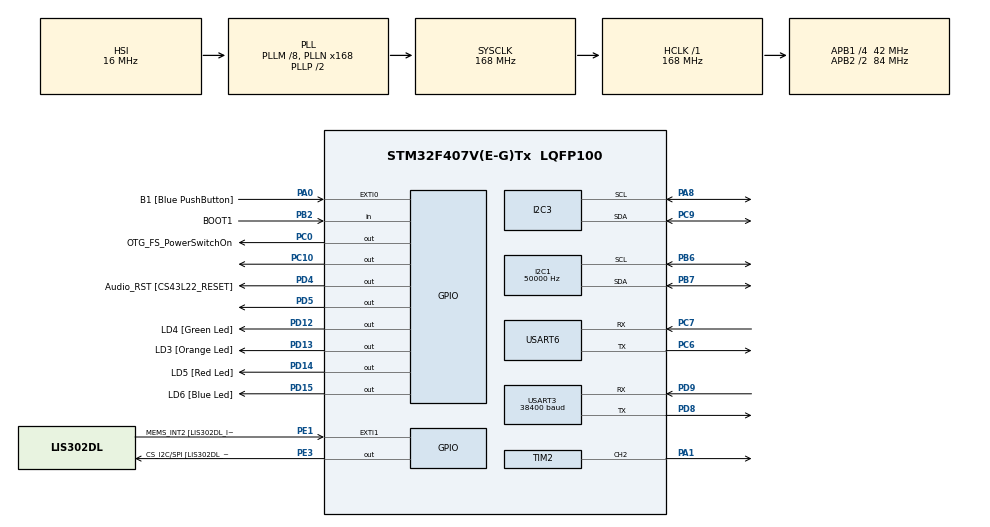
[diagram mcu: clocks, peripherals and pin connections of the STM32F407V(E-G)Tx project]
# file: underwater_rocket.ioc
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Dma.I2C1_RX.2.Direction=DMA_PERIPH_TO_MEMORY
Dma.I2C1_RX.2.FIFOMode=DMA_FIFOMODE_DISABLE
Dma.I2C1_RX.2.Instance=DMA1_Stream5
Dma.I2C1_RX.2.MemDataAlignment=DMA_MDATAALIGN_BYTE
Dma.I2C1_RX.2.MemInc=DMA_MINC_ENABLE
Dma.I2C1_RX.2.Mode=DMA_NORMAL
Dma.I2C1_RX.2.PeriphDataAlignment=DMA_PDATAALIGN_BYTE
Dma.I2C1_RX.2.PeriphInc=DMA_PINC_DISABLE
Dma.I2C1_RX.2.Priority=DMA_PRIORITY_LOW
Dma.I2C1_TX.3.Direction=DMA_MEMORY_TO_PERIPH
Dma.I2C1_TX.3.FIFOMode=DMA_FIFOMODE_DISABLE
Dma.I2C1_TX.3.Instance=DMA1_Stream6
Dma.I2C1_TX.3.MemDataAlignment=DMA_MDATAALIGN_BYTE
Dma.I2C1_TX.3.MemInc=DMA_MINC_ENABLE
Dma.I2C1_TX.3.Mode=DMA_NORMAL
Dma.I2C1_TX.3.PeriphDataAlignment=DMA_PDATAALIGN_BYTE
Dma.I2C1_TX.3.PeriphInc=DMA_PINC_DISABLE
Dma.I2C1_TX.3.Priority=DMA_PRIORITY_LOW
Dma.I2C3_RX.4.Direction=DMA_PERIPH_TO_MEMORY
Dma.I2C3_RX.4.FIFOMode=DMA_FIFOMODE_DISABLE
Dma.I2C3_RX.4.Instance=DMA1_Stream2
Dma.I2C3_RX.4.MemDataAlignment=DMA_MDATAALIGN_BYTE
Dma.I2C3_RX.4.MemInc=DMA_MINC_ENABLE
Dma.I2C3_RX.4.Mode=DMA_NORMAL
Dma.I2C3_RX.4.PeriphDataAlignment=DMA_PDATAALIGN_BYTE
Dma.I2C3_RX.4.PeriphInc=DMA_PINC_DISABLE
Dma.I2C3_RX.4.Priority=DMA_PRIORITY_LOW
Dma.I2C3_TX.5.Direction=DMA_MEMORY_TO_PERIPH
Dma.I2C3_TX.5.FIFOMode=DMA_FIFOMODE_DISABLE
Dma.I2C3_TX.5.Instance=DMA1_Stream4
Dma.I2C3_TX.5.MemDataAlignment=DMA_MDATAALIGN_BYTE
Dma.I2C3_TX.5.MemInc=DMA_MINC_ENABLE
Dma.I2C3_TX.5.Mode=DMA_NORMAL
Dma.I2C3_TX.5.PeriphDataAlignment=DMA_PDATAALIGN_BYTE
Dma.I2C3_TX.5.PeriphInc=DMA_PINC_DISABLE
Dma.I2C3_TX.5.Priority=DMA_PRIORITY_LOW
Dma.Request0=USART6_RX
Dma.Request1=USART6_TX
Dma.Request2=I2C1_RX
Dma.Request3=I2C1_TX
Dma.Request4=I2C3_RX
Dma.Request5=I2C3_TX
Dma.Request6=USART3_RX
Dma.Request7=USART3_TX
Dma.USART3_RX.6.Direction=DMA_PERIPH_TO_MEMORY
Dma.USART3_RX.6.FIFOMode=DMA_FIFOMODE_DISABLE
Dma.USART3_RX.6.Instance=DMA1_Stream1
Dma.USART3_RX.6.MemDataAlignment=DMA_MDATAALIGN_BYTE
Dma.USART3_RX.6.MemInc=DMA_MINC_ENABLE
Dma.USART3_RX.6.Mode=DMA_NORMAL
Dma.USART3_RX.6.PeriphDataAlignment=DMA_PDATAALIGN_BYTE
Dma.USART3_RX.6.PeriphInc=DMA_PINC_DISABLE
Dma.USART3_RX.6.Priority=DMA_PRIORITY_LOW
Dma.USART3_TX.7.Direction=DMA_MEMORY_TO_PERIPH
Dma.USART3_TX.7.FIFOMode=DMA_FIFOMODE_DISABLE
Dma.USART3_TX.7.Instance=DMA1_Stream3
Dma.USART3_TX.7.MemDataAlignment=DMA_MDATAALIGN_BYTE
Dma.USART3_TX.7.MemInc=DMA_MINC_ENABLE
Dma.USART3_TX.7.Mode=DMA_NORMAL
Dma.USART3_TX.7.PeriphDataAlignment=DMA_PDATAALIGN_BYTE
Dma.USART3_TX.7.PeriphInc=DMA_PINC_DISABLE
Dma.USART3_TX.7.Priority=DMA_PRIORITY_LOW
Dma.USART6_RX.0.Direction=DMA_PERIPH_TO_MEMORY
Dma.USART6_RX.0.FIFOMode=DMA_FIFOMODE_DISABLE
Dma.USART6_RX.0.Instance=DMA2_Stream1
Dma.USART6_RX.0.MemDataAlignment=DMA_MDATAALIGN_BYTE
Dma.USART6_RX.0.MemInc=DMA_MINC_ENABLE
Dma.USART6_RX.0.Mode=DMA_NORMAL
Dma.USART6_RX.0.PeriphDataAlignment=DMA_PDATAALIGN_BYTE
Dma.USART6_RX.0.PeriphInc=DMA_PINC_DISABLE
Dma.USART6_RX.0.Priority=DMA_PRIORITY_LOW
Dma.USART6_TX.1.Direction=DMA_MEMORY_TO_PERIPH
Dma.USART6_TX.1.FIFOMode=DMA_FIFOMODE_DISABLE
Dma.USART6_TX.1.Instance=DMA2_Stream6
Dma.USART6_TX.1.MemDataAlignment=DMA_MDATAALIGN_BYTE
Dma.USART6_TX.1.MemInc=DMA_MINC_ENABLE
Dma.USART6_TX.1.Mode=DMA_NORMAL
Dma.USART6_TX.1.PeriphDataAlignment=DMA_PDATAALIGN_BYTE
Dma.USART6_TX.1.PeriphInc=DMA_PINC_DISABLE
Dma.USART6_TX.1.Priority=DMA_PRIORITY_LOW
I2C1.ClockSpeed=50000
Mcu.Family=STM32F4
Mcu.Name=STM32F407V(E-G)Tx
Mcu.Package=LQFP100
NVIC.DMA1_Stream1_IRQn=true\:10\:0\:true\:false\:true\:false\:true\:true
NVIC.DMA1_Stream2_IRQn=true\:10\:0\:true\:false\:true\:false\:true\:true
NVIC.DMA1_Stream3_IRQn=true\:10\:0\:true\:false\:true\:false\:true\:true
NVIC.DMA1_Stream4_IRQn=true\:10\:0\:true\:false\:true\:false\:true\:true
NVIC.DMA1_Stream5_IRQn=true\:10\:0\:true\:false\:true\:false\:true\:true
NVIC.DMA1_Stream6_IRQn=true\:10\:0\:true\:false\:true\:false\:true\:true
NVIC.DMA2_Stream1_IRQn=true\:10\:0\:true\:false\:true\:false\:true\:true
NVIC.DMA2_Stream6_IRQn=true\:10\:0\:true\:false\:true\:false\:true\:true
NVIC.I2C1_ER_IRQn=true\:10\:0\:true\:false\:true\:true\:true\:true
NVIC.I2C1_EV_IRQn=true\:10\:0\:true\:false\:true\:true\:true\:true
NVIC.I2C3_EV_IRQn=true\:10\:0\:true\:false\:true\:true\:true\:true
NVIC.PriorityGroup=NVIC_PRIORITYGROUP_4
NVIC.TIM6_DAC_IRQn=true\:0\:0\:true\:false\:true\:false\:true\:true
NVIC.TimeBase=TIM6_DAC_IRQn
NVIC.TimeBaseIP=TIM6
NVIC.USART3_IRQn=true\:10\:0\:true\:false\:true\:true\:true\:true
NVIC.USART6_IRQn=true\:10\:0\:true\:false\:true\:true\:true\:true
PA0-WKUP.GPIO_Label=B1 [Blue PushButton]
PA0-WKUP.Signal=GPXTI0
PA1.Signal=S_TIM2_CH2
PA13.GPIO_Label=SWDIO
PA13.Mode=Trace_Asynchronous_SW
PA13.Signal=SYS_JTMS-SWDIO
PA14.GPIO_Label=SWCLK
PA14.Mode=Trace_Asynchronous_SW
PA14.Signal=SYS_JTCK-SWCLK
PA2.Signal=USART2_TX
PA3.Signal=USART2_RX
PA4.GPIO_Label=I2S3_WS [CS43L22_LRCK]
PA4.GPIO_Mode=GPIO_MODE_AF_PP
PA4.GPIO_PuPd=GPIO_NOPULL
PA4.GPIO_Speed=GPIO_SPEED_FREQ_LOW
PA4.Signal=I2S3_WS
PA5.GPIO_Label=SPI1_SCK [LIS302DL_SCL/SPC]
PA5.GPIO_Mode=GPIO_MODE_AF_PP
PA5.GPIO_PuPd=GPIO_NOPULL
PA5.GPIO_Speed=GPIO_SPEED_FREQ_LOW
PA5.Signal=SPI1_SCK
PA6.GPIO_Label=SPI1_MISO [LIS302DL_SDO]
PA6.GPIO_Mode=GPIO_MODE_AF_PP
PA6.GPIO_PuPd=GPIO_NOPULL
PA6.GPIO_Speed=GPIO_SPEED_FREQ_LOW
PA6.Signal=SPI1_MISO
PA7.GPIO_Label=SPI1_MOSI [LIS302DL_SDA/SDI/SDO]
PA7.GPIO_Mode=GPIO_MODE_AF_PP
PA7.GPIO_PuPd=GPIO_NOPULL
PA7.GPIO_Speed=GPIO_SPEED_FREQ_LOW
PA7.Signal=SPI1_MOSI
PA8.Mode=I2C
PA8.Signal=I2C3_SCL
PB2.GPIO_Label=BOOT1
PB2.GPIO_Mode=GPIO_MODE_INPUT
PB2.GPIO_PuPd=GPIO_NOPULL
PB2.Signal=GPIO_Input
PB3.GPIO_Label=SWO
PB3.Mode=Trace_Asynchronous_SW
PB3.Signal=SYS_JTDO-SWO
PB6.GPIO_Pu=GPIO_NOPULL
PB6.Mode=I2C
PB6.Signal=I2C1_SCL
PB7.GPIO_Pu=GPIO_NOPULL
PB7.Mode=I2C
PB7.Signal=I2C1_SDA
PC0.GPIO_Label=OTG_FS_PowerSwitchOn
PC0.GPIO_PuPd=GPIO_NOPULL
PC0.GPIO_Speed=GPIO_SPEED_FREQ_LOW
PC0.PinState=GPIO_PIN_SET
PC0.Signal=GPIO_Output
PC10.Signal=GPIO_Output
PC14-OSC32_IN.GPIO_Label=PC14-OSC32_IN
PC14-OSC32_IN.Signal=RCC_OSC32_IN
PC15-OSC32_OUT.GPIO_Label=PC15-OSC32_OUT
PC15-OSC32_OUT.Signal=RCC_OSC32_OUT
PC3.GPIO_Label=PDM_OUT [MP45DT02_DOUT]
PC3.GPIO_Mode=GPIO_MODE_AF_PP
PC3.GPIO_PuPd=GPIO_NOPULL
PC3.GPIO_Speed=GPIO_SPEED_FREQ_LOW
PC3.Signal=I2S2_SD
PC6.Mode=Asynchronous
PC6.Signal=USART6_TX
PC7.Mode=Asynchronous
PC7.Signal=USART6_RX
PC9.Mode=I2C
PC9.Signal=I2C3_SDA
PD12.GPIO_Label=LD4 [Green Led]
PD12.GPIO_PuPd=GPIO_NOPULL
PD12.GPIO_Speed=GPIO_SPEED_FREQ_LOW
PD12.Signal=GPIO_Output
PD13.GPIO_Label=LD3 [Orange Led]
PD13.GPIO_PuPd=GPIO_NOPULL
PD13.GPIO_Speed=GPIO_SPEED_FREQ_LOW
PD13.Signal=GPIO_Output
PD14.GPIO_Label=LD5 [Red Led]
PD14.GPIO_PuPd=GPIO_NOPULL
PD14.GPIO_Speed=GPIO_SPEED_FREQ_LOW
PD14.Signal=GPIO_Output
PD15.GPIO_Label=LD6 [Blue Led]
PD15.GPIO_PuPd=GPIO_NOPULL
PD15.GPIO_Speed=GPIO_SPEED_FREQ_LOW
PD15.Signal=GPIO_Output
PD4.GPIO_Label=Audio_RST [CS43L22_RESET]
PD4.GPIO_PuPd=GPIO_NOPULL
PD4.GPIO_Speed=GPIO_SPEED_FREQ_LOW
PD4.Signal=GPIO_Output
PD5.Signal=GPIO_Output
PD8.GPIO_ModeDefaultPP=GPIO_MODE_AF_OD
PD8.Mode=Asynchronous
PD8.Signal=USART3_TX
PD9.GPIO_ModeDefaultPP=GPIO_MODE_AF_OD
PD9.Mode=Asynchronous
PD9.Signal=USART3_RX
PE1.GPIO_Label=MEMS_INT2 [LIS302DL_INT2]
PE1.GPIO_ModeDefaultEXTI=GPIO_MODE_EVT_RISING
PE1.GPIO_PuPd=GPIO_NOPULL
PE1.Signal=GPXTI1
PE3.GPIO_Label=CS_I2C/SPI [LIS302DL_CS_I2C/SPI]
PE3.GPIO_PuPd=GPIO_NOPULL
PE3.GPIO_Speed=GPIO_SPEED_FREQ_LOW
PE3.Signal=GPIO_Output
PH0-OSC_IN.GPIO_Label=PH0-OSC_IN
PH0-OSC_IN.Signal=RCC_OSC_IN
PH1-OSC_OUT.GPIO_Label=PH1-OSC_OUT
PH1-OSC_OUT.Signal=RCC_OSC_OUT
ProjectManager.HeapSize=0x200
ProjectManager.StackSize=0x400
ProjectManager.TargetToolchain=CMake
RCC.48MHZClocksFreq_Value=48000000
RCC.AHBFreq_Value=168000000
RCC.APB1CLKDivider=RCC_HCLK_DIV4
RCC.APB1Freq_Value=42000000
RCC.APB1TimFreq_Value=84000000
RCC.APB2CLKDivider=RCC_HCLK_DIV2
RCC.APB2Freq_Value=84000000
RCC.APB2TimFreq_Value=168000000
RCC.CortexFreq_Value=168000000
RCC.HCLKFreq_Value=168000000
RCC.HSE_VALUE=8000000
RCC.HSI_VALUE=16000000
RCC.LSE_VALUE=32768
RCC.PLLM=8
RCC.PLLN=168
RCC.PLLQ=7
RCC.SYSCLKFreq_VALUE=168000000
RCC.SYSCLKSource=RCC_SYSCLKSOURCE_PLLCLK
RCC.VCOOutputFreq_Value=336000000
SH.S_TIM2_CH2.0=TIM2_CH2,PWM Generation2 CH2
TIM2.AutoReloadPreload=TIM_AUTORELOAD_PRELOAD_ENABLE
TIM2.Channel-PWM\ Generation2\ CH2=TIM_CHANNEL_2
TIM2.Period=20000 - 1
TIM2.Prescaler=84 - 1
USART3.BaudRate=38400
USART3.VirtualMode=VM_ASYNC
USART6.Parity=PARITY_EVEN
USART6.VirtualMode=VM_ASYNC
USART6.WordLength=WORDLENGTH_9B
VP_SYS_VS_tim6.Mode=TIM6
VP_TIM2_VS_ClockSourceINT.Mode=Internal
board=STM32F407G-DISC1

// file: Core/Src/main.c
/* USER CODE BEGIN Header */
/**
  ******************************************************************************
  * @file           : main.c
  * @brief          : Main program body
  ******************************************************************************
  * @attention
  *
  * <h2><center>&copy; Copyright (c) 2021 STMicroelectronics.
  * All rights reserved.</center></h2>
  *
  * This software component is licensed by ST under BSD 3-Clause license,
  * the "License"; You may not use this file except in compliance with the
  * License. You may obtain a copy of the License at:
  *                        opensource.org/licenses/BSD-3-Clause
  *
  ******************************************************************************
  */
/* USER CODE END Header */
#include "main.h"

/* USER CODE BEGIN Includes */
#include <stdio.h>
#include <stdlib.h>
#include "FreeRTOS.h"
#include "task.h"
#include "semphr.h"
#include "string.h"
#include "maestro.h"
#include "tasks_config.h"
/* USER CODE END Includes */

I2C_HandleTypeDef hi2c1;
I2C_HandleTypeDef hi2c3;
DMA_HandleTypeDef hdma_i2c1_rx;
DMA_HandleTypeDef hdma_i2c1_tx;
DMA_HandleTypeDef hdma_i2c3_rx;
DMA_HandleTypeDef hdma_i2c3_tx;

TIM_HandleTypeDef htim2;

UART_HandleTypeDef huart3;
UART_HandleTypeDef huart6;
DMA_HandleTypeDef hdma_usart3_rx;
DMA_HandleTypeDef hdma_usart3_tx;
DMA_HandleTypeDef hdma_usart6_rx;
DMA_HandleTypeDef hdma_usart6_tx;

/* USER CODE BEGIN PV */
#define DWT_CTRL    (*(volatile uint32_t*)0xE0001000)
/* USER CODE END PV */

void SystemClock_Config(void);
static void MX_GPIO_Init(void);
static void MX_DMA_Init(void);
static void MX_TIM2_Init(void);
static void MX_USART6_UART_Init(void);
static void MX_I2C1_Init(void);
static void MX_I2C3_Init(void);
static void MX_USART3_UART_Init(void);
/* USER CODE BEGIN PFP */

extern void Callback_BNO_DMA_Rx();
extern void MS5837_DMA_Callback();
extern void Maestro_CallBack();
extern void SEGGER_UART_init(uint32_t);
extern void CommRx_CallBack();
extern void CommTx_CallBack();

/* USER CODE END PFP */

/* USER CODE BEGIN 0 */

/* BNO055 Bus Stuck problem */
void BNO_I2C_Clear(void)
{

	GPIO_InitTypeDef GPIO_InitStruct = {0};

	// Activate clock
	__HAL_RCC_GPIOB_CLK_ENABLE();

	uint16_t SCL_Pin = GPIO_PIN_6;
	uint16_t SDA_Pin = GPIO_PIN_7;
	GPIO_TypeDef* I2C_Port = GPIOB;

	GPIO_InitStruct.Pin = SCL_Pin | SDA_Pin;
	GPIO_InitStruct.Mode = GPIO_MODE_OUTPUT_OD;
	GPIO_InitStruct.Pull = GPIO_PULLUP;
	GPIO_InitStruct.Speed = GPIO_SPEED_FREQ_HIGH;
	HAL_GPIO_Init(I2C_Port, &GPIO_InitStruct);

	HAL_GPIO_WritePin(I2C_Port, SCL_Pin | SDA_Pin, GPIO_PIN_SET);
	HAL_Delay(1);

	for (int i = 0; i < 9; i++)
	{
		HAL_GPIO_WritePin(I2C_Port, SCL_Pin, GPIO_PIN_RESET); // SCL LOW
		HAL_Delay(1);
		HAL_GPIO_WritePin(I2C_Port, SCL_Pin, GPIO_PIN_SET);   // SCL HIGH
		HAL_Delay(1);
	}

	HAL_GPIO_WritePin(I2C_Port, SCL_Pin, GPIO_PIN_RESET); // Pre
	HAL_Delay(1);
	HAL_GPIO_WritePin(I2C_Port, SDA_Pin, GPIO_PIN_RESET); // SDA Stop
	HAL_Delay(1);

	HAL_GPIO_WritePin(I2C_Port, SCL_Pin, GPIO_PIN_SET);   // SCL HIGH
	HAL_Delay(1);
	HAL_GPIO_WritePin(I2C_Port, SDA_Pin, GPIO_PIN_SET);   // SDA HIGH
	HAL_Delay(1);

	// Let pins to start as normal I2C pins
	HAL_GPIO_DeInit(I2C_Port, SCL_Pin | SDA_Pin);
}

/* USER CODE END 0 */

int main(void)
{

  /* USER CODE BEGIN 1 */

  //SCB->VTOR = 0x8010000;

  /* USER CODE END 1 */

  /* MCU Configuration--------------------------------------------------------*/

  /* Reset of all peripherals, Initializes the Flash interface and the Systick. */
  HAL_Init();

  /* USER CODE BEGIN Init */

  HAL_NVIC_SetPriorityGrouping(NVIC_PRIORITYGROUP_4);
  /* USER CODE END Init */

  /* Configure the system clock */
  SystemClock_Config();

  /* Initialize all configured peripherals */
  MX_GPIO_Init();

  MX_DMA_Init();
  MX_TIM2_Init();
  MX_USART6_UART_Init();
  BNO_I2C_Clear();

  MX_I2C1_Init();
  MX_I2C3_Init();
  MX_USART3_UART_Init();
  /* USER CODE BEGIN 2 */
  HAL_NVIC_SetPriority(DMA2_Stream7_IRQn, 10, 0);

  for (volatile uint32_t i = 0; i < 200000; i++) {
      __NOP();
  }

  //Enable the CYCCNT counter.
  DWT_CTRL |= ( 1 << 0);
 SEGGER_UART_init(500000);
 SEGGER_SYSVIEW_Conf();

 HAL_GPIO_WritePin(GPIOD, GPIO_PIN_12 , GPIO_PIN_SET);
 HAL_GPIO_WritePin(GPIOD, GPIO_PIN_13 , GPIO_PIN_SET);
 HAL_GPIO_WritePin(GPIOC, GPIO_PIN_10 , GPIO_PIN_SET);
 System_Tasks_Init();
  //if the control comes here, then the launch of the scheduler hasA failed due to
  //insufficient memory in heap

  /* USER CODE END 2 */

  /* Infinite loop */
  while (1)
  {

  }
}

void SystemClock_Config(void)
{
  RCC_OscInitTypeDef RCC_OscInitStruct = {0};
  RCC_ClkInitTypeDef RCC_ClkInitStruct = {0};

  /** Configure the main internal regulator output voltage
  */
  __HAL_RCC_PWR_CLK_ENABLE();
  __HAL_PWR_VOLTAGESCALING_CONFIG(PWR_REGULATOR_VOLTAGE_SCALE1);

  /** Initializes the RCC Oscillators according to the specified parameters
  * in the RCC_OscInitTypeDef structure.
  */
  RCC_OscInitStruct.OscillatorType = RCC_OSCILLATORTYPE_HSI;
  RCC_OscInitStruct.HSIState = RCC_HSI_ON;
  RCC_OscInitStruct.HSICalibrationValue = RCC_HSICALIBRATION_DEFAULT;
  RCC_OscInitStruct.PLL.PLLState = RCC_PLL_ON;
  RCC_OscInitStruct.PLL.PLLSource = RCC_PLLSOURCE_HSI;
  RCC_OscInitStruct.PLL.PLLM = 8;
  RCC_OscInitStruct.PLL.PLLN = 168;
  RCC_OscInitStruct.PLL.PLLP = RCC_PLLP_DIV2;
  RCC_OscInitStruct.PLL.PLLQ = 7;
  if (HAL_RCC_OscConfig(&RCC_OscInitStruct) != HAL_OK)
  {
    Error_Handler();
  }

  /** Initializes the CPU, AHB and APB buses clocks
  */
  RCC_ClkInitStruct.ClockType = RCC_CLOCKTYPE_HCLK|RCC_CLOCKTYPE_SYSCLK
                              |RCC_CLOCKTYPE_PCLK1|RCC_CLOCKTYPE_PCLK2;
  RCC_ClkInitStruct.SYSCLKSource = RCC_SYSCLKSOURCE_PLLCLK;
  RCC_ClkInitStruct.AHBCLKDivider = RCC_SYSCLK_DIV1;
  RCC_ClkInitStruct.APB1CLKDivider = RCC_HCLK_DIV4;
  RCC_ClkInitStruct.APB2CLKDivider = RCC_HCLK_DIV2;

  if (HAL_RCC_ClockConfig(&RCC_ClkInitStruct, FLASH_LATENCY_5) != HAL_OK)
  {
    Error_Handler();
  }
}

static void MX_I2C1_Init(void)
{

  hi2c1.Instance = I2C1;
  hi2c1.Init.ClockSpeed = 50000;
  hi2c1.Init.DutyCycle = I2C_DUTYCYCLE_2;
  hi2c1.Init.OwnAddress1 = 0;
  hi2c1.Init.AddressingMode = I2C_ADDRESSINGMODE_7BIT;
  hi2c1.Init.DualAddressMode = I2C_DUALADDRESS_DISABLE;
  hi2c1.Init.OwnAddress2 = 0;
  hi2c1.Init.GeneralCallMode = I2C_GENERALCALL_DISABLE;
  hi2c1.Init.NoStretchMode = I2C_NOSTRETCH_DISABLE;
  if (HAL_I2C_Init(&hi2c1) != HAL_OK)
  {
    Error_Handler();
  }

}

static void MX_I2C3_Init(void)
{

  hi2c3.Instance = I2C3;
  hi2c3.Init.ClockSpeed = 100000;
  hi2c3.Init.DutyCycle = I2C_DUTYCYCLE_2;
  hi2c3.Init.OwnAddress1 = 0;
  hi2c3.Init.AddressingMode = I2C_ADDRESSINGMODE_7BIT;
  hi2c3.Init.DualAddressMode = I2C_DUALADDRESS_DISABLE;
  hi2c3.Init.OwnAddress2 = 0;
  hi2c3.Init.GeneralCallMode = I2C_GENERALCALL_DISABLE;
  hi2c3.Init.NoStretchMode = I2C_NOSTRETCH_DISABLE;
  if (HAL_I2C_Init(&hi2c3) != HAL_OK)
  {
    Error_Handler();
  }

}

static void MX_TIM2_Init(void)
{

  TIM_ClockConfigTypeDef sClockSourceConfig = {0};
  TIM_MasterConfigTypeDef sMasterConfig = {0};
  TIM_OC_InitTypeDef sConfigOC = {0};

  htim2.Instance = TIM2;
  htim2.Init.Prescaler = 84 - 1;
  htim2.Init.CounterMode = TIM_COUNTERMODE_UP;
  htim2.Init.Period = 20000 - 1;
  htim2.Init.ClockDivision = TIM_CLOCKDIVISION_DIV1;
  htim2.Init.AutoReloadPreload = TIM_AUTORELOAD_PRELOAD_ENABLE;
  if (HAL_TIM_Base_Init(&htim2) != HAL_OK)
  {
    Error_Handler();
  }
  sClockSourceConfig.ClockSource = TIM_CLOCKSOURCE_INTERNAL;
  if (HAL_TIM_ConfigClockSource(&htim2, &sClockSourceConfig) != HAL_OK)
  {
    Error_Handler();
  }
  if (HAL_TIM_PWM_Init(&htim2) != HAL_OK)
  {
    Error_Handler();
  }
  sMasterConfig.MasterOutputTrigger = TIM_TRGO_RESET;
  sMasterConfig.MasterSlaveMode = TIM_MASTERSLAVEMODE_DISABLE;
  if (HAL_TIMEx_MasterConfigSynchronization(&htim2, &sMasterConfig) != HAL_OK)
  {
    Error_Handler();
  }
  sConfigOC.OCMode = TIM_OCMODE_PWM1;
  sConfigOC.Pulse = 0;
  sConfigOC.OCPolarity = TIM_OCPOLARITY_HIGH;
  sConfigOC.OCFastMode = TIM_OCFAST_DISABLE;
  if (HAL_TIM_PWM_ConfigChannel(&htim2, &sConfigOC, TIM_CHANNEL_2) != HAL_OK)
  {
    Error_Handler();
  }
  HAL_TIM_MspPostInit(&htim2);

}

static void MX_USART3_UART_Init(void)
{

  huart3.Instance = USART3;
  huart3.Init.BaudRate = 38400;
  huart3.Init.WordLength = UART_WORDLENGTH_8B;
  huart3.Init.StopBits = UART_STOPBITS_1;
  huart3.Init.Parity = UART_PARITY_NONE;
  huart3.Init.Mode = UART_MODE_TX_RX;
  huart3.Init.HwFlowCtl = UART_HWCONTROL_NONE;
  huart3.Init.OverSampling = UART_OVERSAMPLING_16;
  if (HAL_UART_Init(&huart3) != HAL_OK)
  {
    Error_Handler();
  }

}

static void MX_USART6_UART_Init(void)
{

  huart6.Instance = USART6;
  huart6.Init.BaudRate = 115200;
  huart6.Init.WordLength = UART_WORDLENGTH_9B;
  huart6.Init.StopBits = UART_STOPBITS_1;
  huart6.Init.Parity = UART_PARITY_EVEN;
  huart6.Init.Mode = UART_MODE_TX_RX;
  huart6.Init.HwFlowCtl = UART_HWCONTROL_NONE;
  huart6.Init.OverSampling = UART_OVERSAMPLING_16;
  if (HAL_UART_Init(&huart6) != HAL_OK)
  {
    Error_Handler();
  }

}

static void MX_DMA_Init(void)
{

  /* DMA controller clock enable */
  __HAL_RCC_DMA2_CLK_ENABLE();
  __HAL_RCC_DMA1_CLK_ENABLE();

  /* DMA interrupt init */
  /* DMA1_Stream1_IRQn interrupt configuration */
  HAL_NVIC_SetPriority(DMA1_Stream1_IRQn, 10, 0);
  HAL_NVIC_EnableIRQ(DMA1_Stream1_IRQn);
  /* DMA1_Stream2_IRQn interrupt configuration */
  HAL_NVIC_SetPriority(DMA1_Stream2_IRQn, 10, 0);
  HAL_NVIC_EnableIRQ(DMA1_Stream2_IRQn);
  /* DMA1_Stream3_IRQn interrupt configuration */
  HAL_NVIC_SetPriority(DMA1_Stream3_IRQn, 10, 0);
  HAL_NVIC_EnableIRQ(DMA1_Stream3_IRQn);
  /* DMA1_Stream4_IRQn interrupt configuration */
  HAL_NVIC_SetPriority(DMA1_Stream4_IRQn, 10, 0);
  HAL_NVIC_EnableIRQ(DMA1_Stream4_IRQn);
  /* DMA1_Stream5_IRQn interrupt configuration */
  HAL_NVIC_SetPriority(DMA1_Stream5_IRQn, 10, 0);
  HAL_NVIC_EnableIRQ(DMA1_Stream5_IRQn);
  /* DMA1_Stream6_IRQn interrupt configuration */
  HAL_NVIC_SetPriority(DMA1_Stream6_IRQn, 10, 0);
  HAL_NVIC_EnableIRQ(DMA1_Stream6_IRQn);
  /* DMA2_Stream1_IRQn interrupt configuration */
  HAL_NVIC_SetPriority(DMA2_Stream1_IRQn, 10, 0);
  HAL_NVIC_EnableIRQ(DMA2_Stream1_IRQn);
  /* DMA2_Stream6_IRQn interrupt configuration */
  HAL_NVIC_SetPriority(DMA2_Stream6_IRQn, 10, 0);
  HAL_NVIC_EnableIRQ(DMA2_Stream6_IRQn);

}

static void MX_GPIO_Init(void)
{
  GPIO_InitTypeDef GPIO_InitStruct = {0};

  /* GPIO Ports Clock Enable */
  __HAL_RCC_GPIOE_CLK_ENABLE();
  __HAL_RCC_GPIOC_CLK_ENABLE();
  __HAL_RCC_GPIOH_CLK_ENABLE();
  __HAL_RCC_GPIOA_CLK_ENABLE();
  __HAL_RCC_GPIOB_CLK_ENABLE();
  __HAL_RCC_GPIOD_CLK_ENABLE();

  /*Configure GPIO pin Output Level */
  HAL_GPIO_WritePin(CS_I2C_SPI_GPIO_Port, CS_I2C_SPI_Pin, GPIO_PIN_RESET);

  /*Configure GPIO pin Output Level */
  HAL_GPIO_WritePin(OTG_FS_PowerSwitchOn_GPIO_Port, OTG_FS_PowerSwitchOn_Pin, GPIO_PIN_SET);

  /*Configure GPIO pin Output Level */
  HAL_GPIO_WritePin(GPIOD, LD4_Pin|LD3_Pin|LD5_Pin|LD6_Pin
                          |Audio_RST_Pin|GPIO_PIN_5, GPIO_PIN_RESET);

  /*Configure GPIO pin Output Level */
  HAL_GPIO_WritePin(GPIOC, GPIO_PIN_10, GPIO_PIN_RESET);

  /*Configure GPIO pin : CS_I2C_SPI_Pin */
  GPIO_InitStruct.Pin = CS_I2C_SPI_Pin;
  GPIO_InitStruct.Mode = GPIO_MODE_OUTPUT_PP;
  GPIO_InitStruct.Pull = GPIO_NOPULL;
  GPIO_InitStruct.Speed = GPIO_SPEED_FREQ_LOW;
  HAL_GPIO_Init(CS_I2C_SPI_GPIO_Port, &GPIO_InitStruct);

  /*Configure GPIO pins : OTG_FS_PowerSwitchOn_Pin PC10 */
  GPIO_InitStruct.Pin = OTG_FS_PowerSwitchOn_Pin|GPIO_PIN_10;
  GPIO_InitStruct.Mode = GPIO_MODE_OUTPUT_PP;
  GPIO_InitStruct.Pull = GPIO_NOPULL;
  GPIO_InitStruct.Speed = GPIO_SPEED_FREQ_LOW;
  HAL_GPIO_Init(GPIOC, &GPIO_InitStruct);

  /*Configure GPIO pin : PDM_OUT_Pin */
  GPIO_InitStruct.Pin = PDM_OUT_Pin;
  GPIO_InitStruct.Mode = GPIO_MODE_AF_PP;
  GPIO_InitStruct.Pull = GPIO_NOPULL;
  GPIO_InitStruct.Speed = GPIO_SPEED_FREQ_LOW;
  GPIO_InitStruct.Alternate = GPIO_AF5_SPI2;
  HAL_GPIO_Init(PDM_OUT_GPIO_Port, &GPIO_InitStruct);

  /*Configure GPIO pin : B1_Pin */
  GPIO_InitStruct.Pin = B1_Pin;
  GPIO_InitStruct.Mode = GPIO_MODE_IT_RISING;
  GPIO_InitStruct.Pull = GPIO_NOPULL;
  HAL_GPIO_Init(B1_GPIO_Port, &GPIO_InitStruct);

  /*Configure GPIO pins : PA2 PA3 */
  GPIO_InitStruct.Pin = GPIO_PIN_2|GPIO_PIN_3;
  GPIO_InitStruct.Mode = GPIO_MODE_AF_PP;
  GPIO_InitStruct.Pull = GPIO_NOPULL;
  GPIO_InitStruct.Speed = GPIO_SPEED_FREQ_VERY_HIGH;
  GPIO_InitStruct.Alternate = GPIO_AF7_USART2;
  HAL_GPIO_Init(GPIOA, &GPIO_InitStruct);

  /*Configure GPIO pin : I2S3_WS_Pin */
  GPIO_InitStruct.Pin = I2S3_WS_Pin;
  GPIO_InitStruct.Mode = GPIO_MODE_AF_PP;
  GPIO_InitStruct.Pull = GPIO_NOPULL;
  GPIO_InitStruct.Speed = GPIO_SPEED_FREQ_LOW;
  GPIO_InitStruct.Alternate = GPIO_AF6_SPI3;
  HAL_GPIO_Init(I2S3_WS_GPIO_Port, &GPIO_InitStruct);

  /*Configure GPIO pins : SPI1_SCK_Pin SPI1_MISO_Pin SPI1_MOSI_Pin */
  GPIO_InitStruct.Pin = SPI1_SCK_Pin|SPI1_MISO_Pin|SPI1_MOSI_Pin;
  GPIO_InitStruct.Mode = GPIO_MODE_AF_PP;
  GPIO_InitStruct.Pull = GPIO_NOPULL;
  GPIO_InitStruct.Speed = GPIO_SPEED_FREQ_LOW;
  GPIO_InitStruct.Alternate = GPIO_AF5_SPI1;
  HAL_GPIO_Init(GPIOA, &GPIO_InitStruct);

  /*Configure GPIO pin : BOOT1_Pin */
  GPIO_InitStruct.Pin = BOOT1_Pin;
  GPIO_InitStruct.Mode = GPIO_MODE_INPUT;
  GPIO_InitStruct.Pull = GPIO_NOPULL;
  HAL_GPIO_Init(BOOT1_GPIO_Port, &GPIO_InitStruct);

  /*Configure GPIO pins : LD4_Pin LD3_Pin LD5_Pin LD6_Pin
                           Audio_RST_Pin PD5 */
  GPIO_InitStruct.Pin = LD4_Pin|LD3_Pin|LD5_Pin|LD6_Pin
                          |Audio_RST_Pin|GPIO_PIN_5;
  GPIO_InitStruct.Mode = GPIO_MODE_OUTPUT_PP;
  GPIO_InitStruct.Pull = GPIO_NOPULL;
  GPIO_InitStruct.Speed = GPIO_SPEED_FREQ_LOW;
  HAL_GPIO_Init(GPIOD, &GPIO_InitStruct);

  /*Configure GPIO pin : MEMS_INT2_Pin */
  GPIO_InitStruct.Pin = MEMS_INT2_Pin;
  GPIO_InitStruct.Mode = GPIO_MODE_EVT_RISING;
  GPIO_InitStruct.Pull = GPIO_NOPULL;
  HAL_GPIO_Init(MEMS_INT2_GPIO_Port, &GPIO_InitStruct);

}

/* USER CODE BEGIN 4 */

/* USER CODE BEGIN 4 */
/* USER CODE BEGIN 4 */

void HAL_I2C_MasterRxCpltCallback(I2C_HandleTypeDef *hi2c)
{
    if(hi2c->Instance == I2C3) // MS5837
    {
        MS5837_DMA_Callback();
    }

    else if(hi2c == &hi2c1)
       {
           Callback_BNO_DMA_Rx();
       }
}

// 3. MASTER YAZMA (MS5837 Komut Gönderme İçin)
void HAL_I2C_MasterTxCpltCallback(I2C_HandleTypeDef *hi2c)
{
    if(hi2c->Instance == I2C3) // MS5837
    {
        MS5837_DMA_Callback();
    }
}

void HAL_UART_TxCpltCallback(UART_HandleTypeDef *huart)
{
    if(huart->Instance == huart3.Instance)
    {
      Maestro_CallBack();

    }
    if(huart->Instance == huart6.Instance)
    {

      CommTx_CallBack();
    }

}

void HAL_UART_RxCpltCallback(UART_HandleTypeDef *huart)
{
   if(huart->Instance == huart6.Instance)
   {
     CommRx_CallBack();
   }
}

void vApplicationMallocFailedHook(void) {

    __disable_irq();
    while(1);
}
/* USER CODE END 4 */

void HAL_TIM_PeriodElapsedCallback(TIM_HandleTypeDef *htim)
{
  if (htim->Instance == TIM6)
  {
    HAL_IncTick();
  }
}

void Error_Handler(void)
{
}
